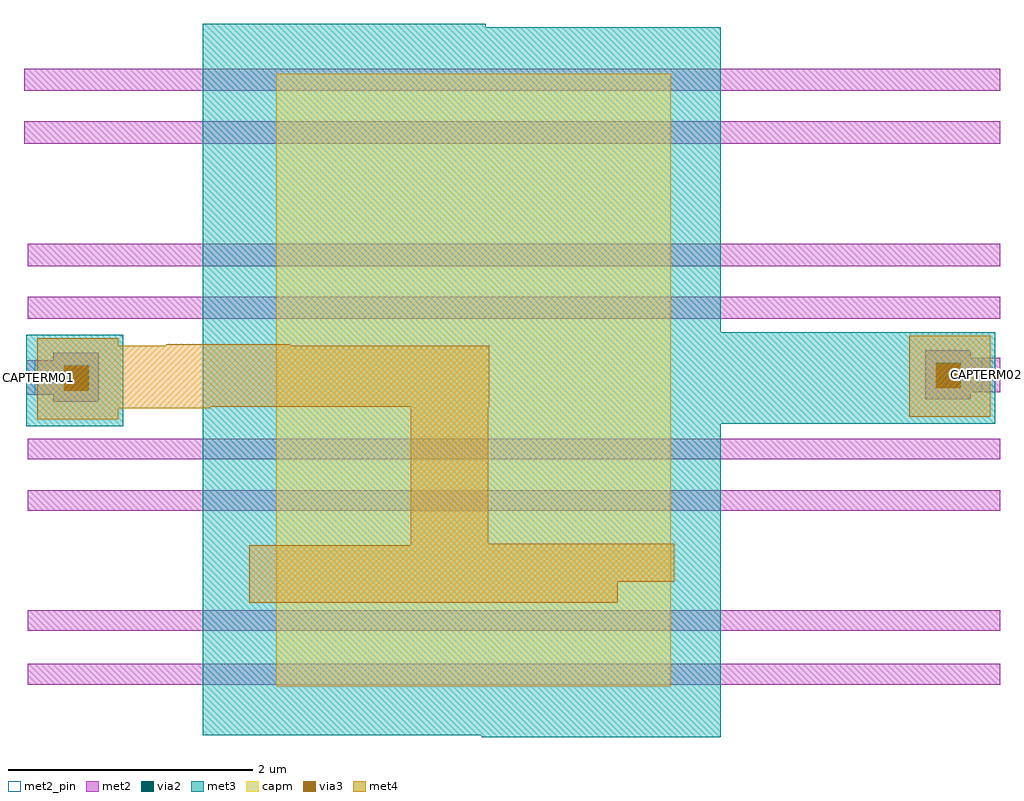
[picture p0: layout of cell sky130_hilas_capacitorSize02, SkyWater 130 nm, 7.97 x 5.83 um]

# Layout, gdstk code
import gdstk
lib = gdstk.Library(unit=1e-6, precision=1e-09)
def R(c, l, rs):  # rectangles x0, y0, x1, y1
    for r in rs: c.add(gdstk.rectangle(r[:2], r[2:], *l))
met2_pin = (69, 16)
met2 = (69, 20)
via2 = (69, 44)
met3 = (70, 20)
via3 = (70, 44)
met4 = (71, 20)
capm = (89, 44)

sky130_hilas_m22m4 = lib.new_cell('sky130_hilas_m22m4')
R(sky130_hilas_m22m4, met2, [(-0.14,-0.16,0.23,0.24)])
R(sky130_hilas_m22m4, via2, [(-0.05,-0.06,0.15,0.14)])
R(sky130_hilas_m22m4, met3, [(-0.36,-0.36,0.43,0.39)])
R(sky130_hilas_m22m4, via3, [(-0.055,-0.07,0.145,0.13)])
R(sky130_hilas_m22m4, met4, [(-0.27,-0.3,0.39,0.36)])

sky130_hilas_capmodule03 = lib.new_cell('sky130_hilas_CapModule03')
R(sky130_hilas_capmodule03, met3, [(-1.64,-2.47,0.31,-2.45), (-3.92,-2.45,0.31,3.33), (-3.92,3.33,-1.61,3.36)])
R(sky130_hilas_capmodule03, met4, [(-3.54,-1.37,-0.53,-0.9)])
R(sky130_hilas_capmodule03, capm, [(-3.32,-2.05,-0.1,2.95)])

sky130_hilas_capacitorsi = lib.new_cell('sky130_hilas_capacitorSize02')
R(sky130_hilas_capacitorsi, met2_pin, [(14.16,2.32,14.23,2.6), (21.96,2.34,22.11,2.62)])
R(sky130_hilas_capacitorsi, met2, [(14.17,-0.05,22.11,0.12), (14.17,0.39,22.11,0.56), (14.17,1.37,22.11,1.54), (14.17,1.79,22.11,1.96), (14.16,2.32,14.43,2.6), (21.8,2.34,22.11,2.62), (14.17,2.94,22.11,3.12), (14.17,3.37,22.11,3.55), (14.14,4.37,22.11,4.55), (14.14,4.8,22.11,4.98)])
R(sky130_hilas_capacitorsi, met3, [(19.82,2.08,21.8,2.21), (19.82,2.21,21.78,2.22), (21.79,2.21,21.8,2.22), (19.82,2.22,21.8,2.83)])
R(sky130_hilas_capacitorsi, met4, [(17.63,0.79,19.45,0.8), (17.3,0.8,19.45,1.1), (17.3,1.1,17.93,2.22), (14.59,2.21,15.66,2.22), (14.59,2.22,17.94,2.72), (15.3,2.72,16.31,2.73)])
sky130_hilas_capacitorsi.add(gdstk.Reference(sky130_hilas_m22m4, (14.52,2.42)))
sky130_hilas_capacitorsi.add(gdstk.Reference(sky130_hilas_capmodule03, (19.52,1.99)))
sky130_hilas_capacitorsi.add(gdstk.Reference(sky130_hilas_m22m4, (21.64,2.44)))
sky130_hilas_capacitorsi.add(gdstk.Label('CAPTERM02', (22.035,2.48), layer=69, texttype=16))
sky130_hilas_capacitorsi.add(gdstk.Label('CAPTERM01', (14.195,2.46), layer=69, texttype=16))

lib.write_gds('sky130_hilas_capacitorSize02.gds')
